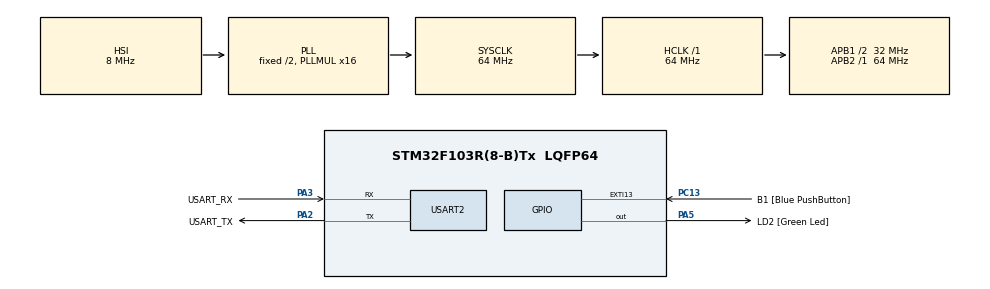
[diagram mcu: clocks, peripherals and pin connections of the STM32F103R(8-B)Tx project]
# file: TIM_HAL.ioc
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Mcu.Family=STM32F1
Mcu.Name=STM32F103R(8-B)Tx
Mcu.Package=LQFP64
NVIC.EXTI15_10_IRQn=true\:0\:0\:false\:false\:true\:true\:true
NVIC.PriorityGroup=NVIC_PRIORITYGROUP_4
NVIC.TIM1_UP_IRQn=true\:0\:0\:false\:false\:true\:true\:true
PA13.GPIO_Label=TMS
PA13.Mode=Serial_Wire
PA13.Signal=SYS_JTMS-SWDIO
PA14.GPIO_Label=TCK
PA14.Mode=Serial_Wire
PA14.Signal=SYS_JTCK-SWCLK
PA2.GPIO_Label=USART_TX
PA2.GPIO_Mode=GPIO_MODE_AF_PP
PA2.GPIO_PuPd=GPIO_NOPULL
PA2.GPIO_Speed=GPIO_SPEED_FREQ_LOW
PA2.Mode=Asynchronous
PA2.Signal=USART2_TX
PA3.GPIO_Label=USART_RX
PA3.GPIO_Mode=GPIO_MODE_AF_PP
PA3.GPIO_PuPd=GPIO_NOPULL
PA3.GPIO_Speed=GPIO_SPEED_FREQ_LOW
PA3.Mode=Asynchronous
PA3.Signal=USART2_RX
PA5.GPIO_Label=LD2 [Green Led]
PA5.GPIO_ModeDefaultOutputPP=GPIO_MODE_OUTPUT_PP
PA5.GPIO_PuPd=GPIO_NOPULL
PA5.GPIO_Speed=GPIO_SPEED_FREQ_LOW
PA5.Signal=GPIO_Output
PB3.GPIO_Label=SWO
PB3.Signal=SYS_JTDO-TRACESWO
PC13-TAMPER-RTC.GPIO_Label=B1 [Blue PushButton]
PC13-TAMPER-RTC.GPIO_PuPd=GPIO_NOPULL
PC13-TAMPER-RTC.Signal=GPXTI13
PC14-OSC32_IN.Mode=LSE-External-Oscillator
PC14-OSC32_IN.Signal=RCC_OSC32_IN
PC15-OSC32_OUT.Mode=LSE-External-Oscillator
PC15-OSC32_OUT.Signal=RCC_OSC32_OUT
PD0-OSC_IN.Mode=HSE-External-Clock-Source
PD0-OSC_IN.Signal=RCC_OSC_IN
PD1-OSC_OUT.Mode=HSE-External-Clock-Source
PD1-OSC_OUT.Signal=RCC_OSC_OUT
ProjectManager.HeapSize=0x200
ProjectManager.StackSize=0x400
ProjectManager.TargetToolchain=MDK-ARM V5
RCC.AHBFreq_Value=64000000
RCC.APB1CLKDivider=RCC_HCLK_DIV2
RCC.APB1Freq_Value=32000000
RCC.APB1TimFreq_Value=64000000
RCC.APB2Freq_Value=64000000
RCC.APB2TimFreq_Value=64000000
RCC.HCLKFreq_Value=64000000
RCC.PLLMUL=RCC_PLL_MUL16
RCC.RTCClockSelection=RCC_RTCCLKSOURCE_LSE
RCC.SYSCLKFreq_VALUE=64000000
RCC.SYSCLKSource=RCC_SYSCLKSOURCE_PLLCLK
RCC.USBFreq_Value=64000000
TIM1.CounterMode=TIM_COUNTERMODE_UP
TIM1.Prescaler=720-1
USART2.VirtualMode=VM_ASYNC
VP_TIM1_VS_ClockSourceINT.Mode=Internal
board=NUCLEO-F103RB

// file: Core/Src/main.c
/* USER CODE BEGIN Header */
/**
 ******************************************************************************
 * @file           : main.c
 * @brief          : Main program body
 ******************************************************************************
 * @attention
 *
 * Copyright (c) 2022 STMicroelectronics.
 * All rights reserved.
 *
 * This software is licensed under terms that can be found in the LICENSE file
 * in the root directory of this software component.
 * If no LICENSE file comes with this software, it is provided AS-IS.
 *
 ******************************************************************************
 */
/* USER CODE END Header */
#include "main.h"
#include "tim.h"
#include "usart.h"
#include "gpio.h"

/* USER CODE BEGIN PV */
int pwm_value_final = 0;
/* USER CODE END PV */

void SystemClock_Config(void);

int main(void)
{

  /* MCU Configuration--------------------------------------------------------*/

  /* Reset of all peripherals, Initializes the Flash interface and the Systick. */
  HAL_Init();

  /* Configure the system clock */
  SystemClock_Config();

  /* Initialize all configured peripherals */
  MX_GPIO_Init();
  MX_TIM1_Init();
  MX_USART2_UART_Init();
  /* USER CODE BEGIN 2 */
  HAL_TIM_Base_Start_IT(&htim1);
  /* USER CODE END 2 */

  /* Infinite loop */
  while (1)
  {

    /* USER CODE BEGIN 3 */
    LOG("pwm_value -> %d Hz", pwm_value_final);
    HAL_Delay(200);
  }
  /* USER CODE END 3 */
}

void SystemClock_Config(void)
{
  RCC_OscInitTypeDef RCC_OscInitStruct = {0};
  RCC_ClkInitTypeDef RCC_ClkInitStruct = {0};

  /** Initializes the RCC Oscillators according to the specified parameters
  * in the RCC_OscInitTypeDef structure.
  */
  RCC_OscInitStruct.OscillatorType = RCC_OSCILLATORTYPE_HSI;
  RCC_OscInitStruct.HSIState = RCC_HSI_ON;
  RCC_OscInitStruct.HSICalibrationValue = RCC_HSICALIBRATION_DEFAULT;
  RCC_OscInitStruct.PLL.PLLState = RCC_PLL_ON;
  RCC_OscInitStruct.PLL.PLLSource = RCC_PLLSOURCE_HSI_DIV2;
  RCC_OscInitStruct.PLL.PLLMUL = RCC_PLL_MUL16;
  if (HAL_RCC_OscConfig(&RCC_OscInitStruct) != HAL_OK)
  {
    Error_Handler();
  }
  /** Initializes the CPU, AHB and APB buses clocks
  */
  RCC_ClkInitStruct.ClockType = RCC_CLOCKTYPE_HCLK|RCC_CLOCKTYPE_SYSCLK
                              |RCC_CLOCKTYPE_PCLK1|RCC_CLOCKTYPE_PCLK2;
  RCC_ClkInitStruct.SYSCLKSource = RCC_SYSCLKSOURCE_PLLCLK;
  RCC_ClkInitStruct.AHBCLKDivider = RCC_SYSCLK_DIV1;
  RCC_ClkInitStruct.APB1CLKDivider = RCC_HCLK_DIV2;
  RCC_ClkInitStruct.APB2CLKDivider = RCC_HCLK_DIV1;

  if (HAL_RCC_ClockConfig(&RCC_ClkInitStruct, FLASH_LATENCY_2) != HAL_OK)
  {
    Error_Handler();
  }
}

/* USER CODE BEGIN 4 */
int pwm_sum;
int pwm_avg;
int pwm_value;

void HAL_GPIO_EXTI_Callback(uint16_t GPIO_Pin)
{
  if (GPIO_Pin == GPIO_PIN_0)
  {
    pwm_value++;
  }
}

void HAL_TIM_PeridoElapseCallback(TIM_HandleTypeDef *htim)
{
  if (htim->Instance == htim1.Instance)
  {
    pwm_sum += pwm_value;
    pwm_sum -= pwm_avg;
    pwm_avg = pwm_sum * 1 / 0.5;
    pwm_value_final = pwm_avg;
    pwm_value = 0;
  }
}
/* USER CODE END 4 */

void Error_Handler(void)
{
  __disable_irq();
  while (1)
  {
  }
}
